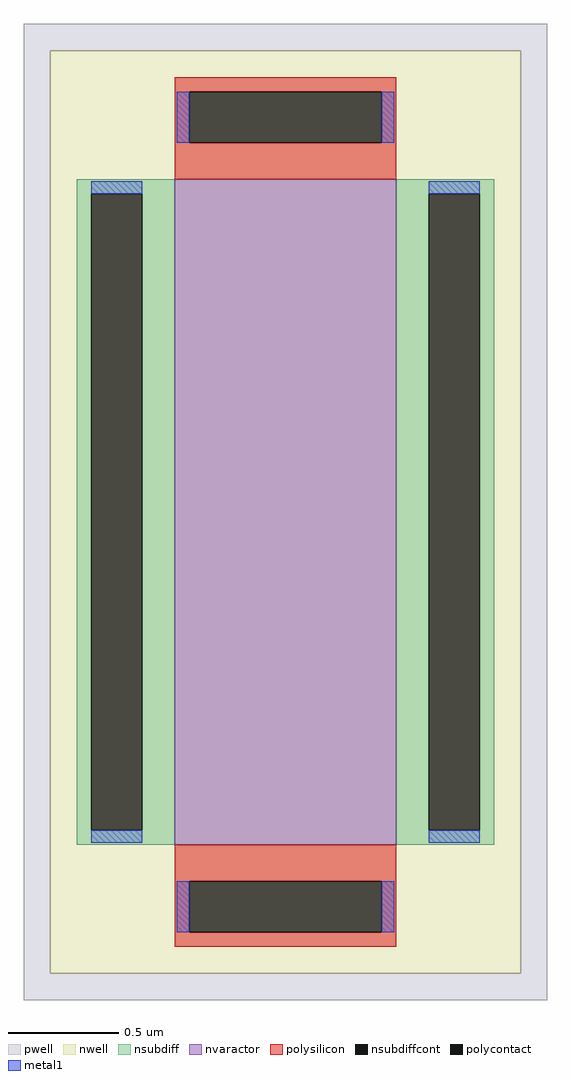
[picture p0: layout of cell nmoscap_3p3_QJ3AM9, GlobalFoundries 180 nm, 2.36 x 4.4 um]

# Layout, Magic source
magic
tech gf180mcuD
magscale 1 10
<< nwell >>
rect -212 -416 212 416
<< pwell >>
rect -236 416 236 440
rect -236 -416 -212 416
rect 212 -416 236 416
rect -236 -440 236 -416
<< nsubdiff >>
rect -188 287 -100 300
rect -188 -287 -175 287
rect -129 -287 -100 287
rect -188 -300 -100 -287
rect 100 287 188 300
rect 100 -287 129 287
rect 175 -287 188 287
rect 100 -300 188 -287
<< nsubdiffcont >>
rect -175 -287 -129 287
rect 129 -287 175 287
<< nvaractor >>
rect -100 -300 100 300
<< polysilicon >>
rect -100 379 100 392
rect -100 333 -87 379
rect 87 333 100 379
rect -100 300 100 333
rect -100 -333 100 -300
rect -100 -379 -87 -333
rect 87 -379 100 -333
rect -100 -392 100 -379
<< polycontact >>
rect -87 333 87 379
rect -87 -379 87 -333
<< metal1 >>
rect -98 333 -87 379
rect 87 333 98 379
rect -175 287 -129 298
rect -175 -298 -129 -287
rect 129 287 175 298
rect 129 -298 175 -287
rect -98 -379 -87 -333
rect 87 -379 98 -333
<< properties >>
string gencell nmoscap_3p3
string library gf180mcu
string parameters w 3.0 l 1.0 m 1 nf 1 diffcov 100 polycov 100 guard 0 glc 0 grc 0 gtc 0 gbc 0 tbcov 100 rlcov 100 topc 1 botc 1 poverlap 0 doverlap 1 lmin 0.28 wmin 0.22 class mosfet full_metal 0 compatible {nmoscap_3p3 nmoscap_6p0}
<< end >>
